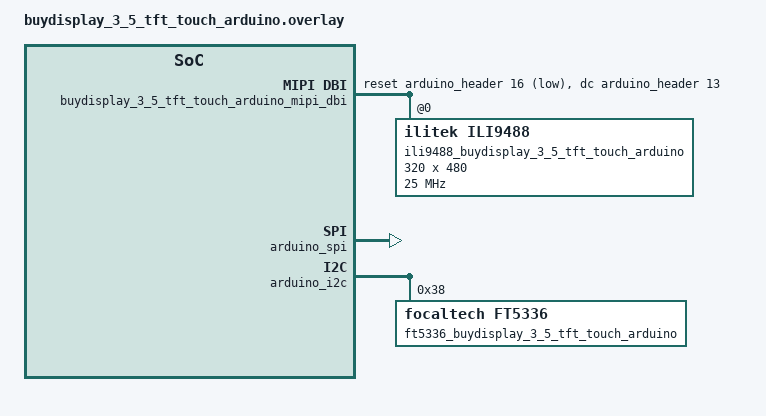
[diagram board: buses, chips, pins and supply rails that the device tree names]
/*
 * Copyright (c) 2020 Teslabs Engineering S.L.
 *
 * SPDX-License-Identifier: Apache-2.0
 */

#include <zephyr/dt-bindings/display/ili9xxx.h>

/ {
	chosen {
		zephyr,display = &ili9488_buydisplay_3_5_tft_touch_arduino;
		zephyr,touch = &ft5336_buydisplay_3_5_tft_touch_arduino;
	};

	lvgl_pointer {
		compatible = "zephyr,lvgl-pointer-input";
		input = <&ft5336_buydisplay_3_5_tft_touch_arduino>;
		swap-xy;
		invert-x;
		invert-y;
	};

	buydisplay_3_5_tft_touch_arduino_mipi_dbi {
		compatible = "zephyr,mipi-dbi-spi";
		dc-gpios = <&arduino_header 13 GPIO_ACTIVE_HIGH>; /* D7 */
		reset-gpios = <&arduino_header 16 GPIO_ACTIVE_LOW>; /* D10 */
		spi-dev = <&arduino_spi>;
		write-only;
		#address-cells = <1>;
		#size-cells = <0>;

		ili9488_buydisplay_3_5_tft_touch_arduino: ili9488@0 {
			compatible = "ilitek,ili9488";
			mipi-max-frequency = <25000000>;
			reg = <0>;
			pixel-format = <ILI9XXX_PIXEL_FORMAT_RGB888>;
			width = <320>;
			height = <480>;
			rotation = <0>;
			frmctr1 = [a0 11];
			pwctrl1 = [17 15];
			pwctrl2 = [41];
			pgamctrl = [00 03 09 08 16 0a 3f 78 4c 09 0a 08 16 1a 0f];
			ngamctrl = [00 16 19 03 0f 05 32 45 46 04 0e 0d 35 37 0f];
		};
	};
};

&arduino_spi {
	status = "okay";
	cs-gpios = <&arduino_header 15 GPIO_ACTIVE_LOW>; /* D9 */
};

&arduino_i2c {
	ft5336_buydisplay_3_5_tft_touch_arduino: ft5336@38 {
		compatible = "focaltech,ft5336";
		reg = <0x38>;
		/* Uncomment if IRQ line is available (requires to solder jumper) */
		/* int-gpios = <&arduino_header 11 GPIO_ACTIVE_LOW>; */ /* D5 */
	};
};
